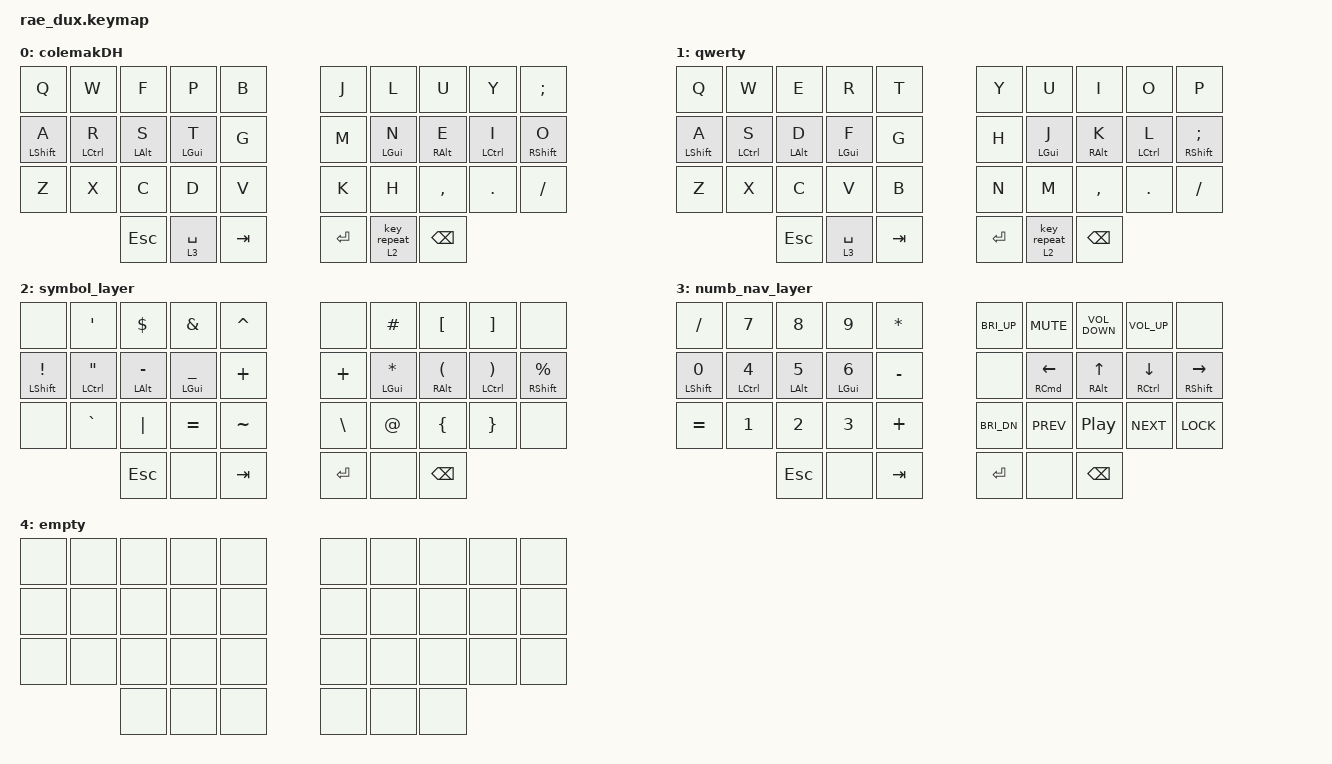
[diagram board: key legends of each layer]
/*
 * Copyright (c) 2021 The ZMK Contributors
 *
 * SPDX-License-Identifier: MIT
 */

#include <behaviors.dtsi>
#include <dt-bindings/zmk/bt.h>
#include <dt-bindings/zmk/keys.h>

&lt { flavor = "hold-preferred"; };

/ {
    conditional_layers {
        compatible = "zmk,conditional-layers";

        Tri {
            if-layers = <3 2>;
            then-layer = <4>;
        };
    };

    behaviors {
        hrm: home_row_mods {
            compatible = "zmk,behavior-hold-tap";
            label = "HOME_ROW_MODS";
            #binding-cells = <2>;
            flavor = "balanced";
            tapping-term-ms = <500>;
            bindings = <&kp>, <&kp>;
        };

        lt_repeat: lt_repeat {
            compatible = "zmk,behavior-hold-tap";
            label = "LT_REPEAT";
            bindings = <&mo>, <&key_repeat>;

            #binding-cells = <2>;
            flavor = "hold-preferred";
            tapping-term-ms = <400>;
        };
    };

    combos {
        compatible = "zmk,combos";

        qwerty {
            bindings = <&tog 1>;
            key-positions = <0 20>;
        };

        bl_r {
            bindings = <&bootloader>;
            key-positions = <9 29 5>;
        };

        bl_l {
            bindings = <&bootloader>;
            key-positions = <20 0 4>;
        };

        disable_input {
            bindings = <&tog 4>;
            key-positions = <30 31 32>;
        };

        clear_bt {
            bindings = <&bt BT_CLR_ALL>;
            key-positions = <32 20 0>;
        };

        clear_bt_right {
            bindings = <&bt BT_CLR_ALL>;
            key-positions = <33 29 9>;
        };
    };

    keymap {
        compatible = "zmk,keymap";

        colemakDH {
            bindings = <
&kp Q              &kp W         &kp F            &kp P        &kp B                              &kp J           &kp L        &kp U             &kp Y         &kp SEMI
&hrm LEFT_SHIFT A  &hrm LCTRL R  &hrm LEFT_ALT S  &hrm LGUI T  &kp G                              &kp M           &hrm LGUI N  &hrm RIGHT_ALT E  &hrm LCTRL I  &hrm RIGHT_SHIFT O
&kp Z              &kp X         &kp C            &kp D        &kp V                              &kp K           &kp H        &kp COMMA         &kp DOT       &kp SLASH
                                                  &kp ESC      &lt 3 SPACE  &kp TAB    &kp ENTER  &lt_repeat 2 0  &kp BSPC
            >;
        };

        qwerty {
            bindings = <
&kp Q              &kp W         &kp E            &kp R        &kp T                              &kp Y           &kp U        &kp I             &kp O         &kp P
&hrm LEFT_SHIFT A  &hrm LCTRL S  &hrm LEFT_ALT D  &hrm LGUI F  &kp G                              &kp H           &hrm LGUI J  &hrm RIGHT_ALT K  &hrm LCTRL L  &hrm RIGHT_SHIFT SEMICOLON
&kp Z              &kp X         &kp C            &kp V        &kp B                              &kp N           &kp M        &kp COMMA         &kp DOT       &kp SLASH
                                                  &kp ESC      &lt 3 SPACE  &kp TAB    &kp ENTER  &lt_repeat 2 0  &kp BSPC
            >;
        };

        Symbol {
            bindings = <
&none                        &kp SINGLE_QUOTE          &kp DOLLAR           &kp AMPERSAND         &kp CARET                        &none          &kp POUND        &kp LEFT_BRACKET                 &kp RIGHT_BRACKET             &none
&hrm LEFT_SHIFT EXCLAMATION  &hrm LCTRL DOUBLE_QUOTES  &hrm LEFT_ALT MINUS  &hrm LGUI UNDERSCORE  &kp PLUS                         &kp PLUS       &hrm LGUI ASTRK  &hrm RIGHT_ALT LEFT_PARENTHESIS  &hrm LCTRL RIGHT_PARENTHESIS  &hrm RIGHT_SHIFT PERCENT
&none                        &kp GRAVE                 &kp PIPE             &kp EQUAL             &kp TILDE                        &kp BACKSLASH  &kp AT_SIGN      &kp LEFT_BRACE                   &kp RIGHT_BRACE               &none
                                                                            &kp ESC               &none      &kp TAB    &kp ENTER  &none          &kp BACKSPACE
            >;

            label = "symbol_layer";
        };

        Numbers_Navigation {
            bindings = <
&kp SLASH           &kp N7               &kp N8            &kp N9              &kp ASTERISK                        &kp C_BRI_UP  &kp C_MUTE               &kp C_VOLUME_DOWN  &kp C_VOLUME_UP          &none
&hrm LEFT_SHIFT N0  &hrm LCTRL NUMBER_4  &hrm LEFT_ALT N5  &hrm LGUI NUMBER_6  &kp MINUS                           &none         &hrm RIGHT_COMMAND LEFT  &hrm RIGHT_ALT UP  &hrm RIGHT_CONTROL DOWN  &hrm RIGHT_SHIFT RIGHT
&kp EQUAL           &kp NUMBER_1         &kp NUMBER_2      &kp NUMBER_3        &kp PLUS                            &kp C_BRI_DN  &kp C_PREV               &kp C_PP           &kp C_NEXT               &kp K_LOCK
                                                           &kp ESCAPE          &none         &kp TAB    &kp ENTER  &none         &kp BSPC
            >;

            label = "numb_nav_layer";
        };

        empty {
            bindings = <
&none  &none  &none  &none  &none                  &none  &none  &none  &none  &none
&none  &none  &none  &none  &none                  &none  &none  &none  &none  &none
&none  &none  &none  &none  &none                  &none  &none  &none  &none  &none
                     &none  &none  &none    &none  &none  &none
            >;
        };
    };
};
